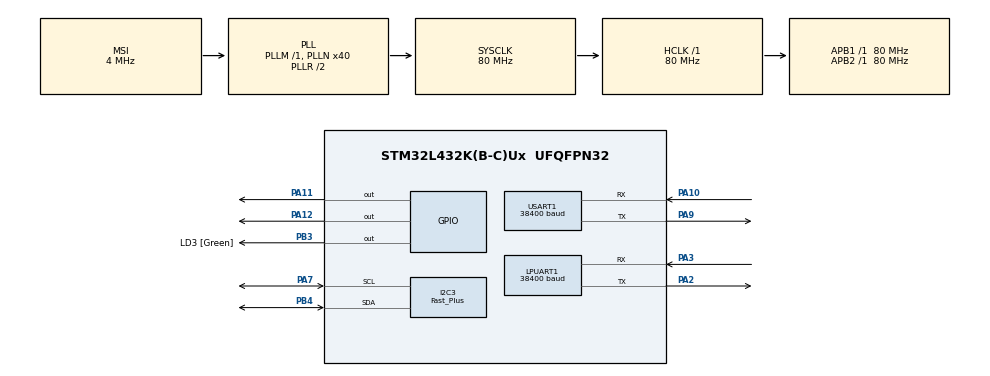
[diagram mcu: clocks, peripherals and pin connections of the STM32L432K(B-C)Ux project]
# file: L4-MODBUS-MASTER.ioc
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I2C3.I2C_Speed_Mode=I2C_Fast_Plus
I2C3.Timing=0x00300F33
LPUART1.BaudRate=38400
LPUART1.WordLength=UART_WORDLENGTH_8B
Mcu.Family=STM32L4
Mcu.Name=STM32L432K(B-C)Ux
Mcu.Package=UFQFPN32
NVIC.LPUART1_IRQn=true\:0\:0\:false\:false\:true\:true\:true\:true
NVIC.PVD_PVM_IRQn=true\:0\:0\:false\:false\:true\:true\:true\:true
NVIC.PriorityGroup=NVIC_PRIORITYGROUP_4
NVIC.USART1_IRQn=true\:1\:0\:true\:false\:true\:true\:true\:true
PA10.Mode=Asynchronous
PA10.Signal=USART1_RX
PA11.Signal=GPIO_Output
PA12.Signal=GPIO_Output
PA13\ (JTMS-SWDIO).GPIO_Label=SWDIO
PA13\ (JTMS-SWDIO).Mode=Serial_Wire
PA13\ (JTMS-SWDIO).Signal=SYS_JTMS-SWDIO
PA14\ (JTCK-SWCLK).GPIO_Label=SWCLK
PA14\ (JTCK-SWCLK).Mode=Serial_Wire
PA14\ (JTCK-SWCLK).Signal=SYS_JTCK-SWCLK
PA2.Mode=Asynchronous
PA2.Signal=LPUART1_TX
PA3.Mode=Asynchronous
PA3.Signal=LPUART1_RX
PA7.Mode=I2C
PA7.Signal=I2C3_SCL
PA9.Mode=Asynchronous
PA9.Signal=USART1_TX
PB3\ (JTDO-TRACESWO).GPIO_Label=LD3 [Green]
PB3\ (JTDO-TRACESWO).Signal=GPIO_Output
PB4\ (NJTRST).Mode=I2C
PB4\ (NJTRST).Signal=I2C3_SDA
PC14-OSC32_IN\ (PC14).Mode=LSE-External-Oscillator
PC14-OSC32_IN\ (PC14).Signal=RCC_OSC32_IN
PC15-OSC32_OUT\ (PC15).Mode=LSE-External-Oscillator
PC15-OSC32_OUT\ (PC15).Signal=RCC_OSC32_OUT
ProjectManager.HeapSize=0x200
ProjectManager.StackSize=0x400
ProjectManager.TargetToolchain=STM32CubeIDE
RCC.ADCFreq_Value=16000000
RCC.AHBFreq_Value=80000000
RCC.APB1Freq_Value=80000000
RCC.APB1TimFreq_Value=80000000
RCC.APB2Freq_Value=80000000
RCC.APB2TimFreq_Value=80000000
RCC.CortexFreq_Value=80000000
RCC.HCLKFreq_Value=80000000
RCC.HSE_VALUE=8000000
RCC.HSI16_VALUE=16000000
RCC.HSI48_VALUE=48000000
RCC.HSI_VALUE=16000000
RCC.MSI_VALUE=4000000
RCC.PLLMUL=RCC_PLLMUL_4
RCC.PLLN=40
RCC.SYSCLKFreq_VALUE=80000000
RCC.SYSCLKSource=RCC_SYSCLKSOURCE_PLLCLK
RCC.USBFreq_Value=16000000
RCC.VCOOutputFreq_Value=160000000
USART1.BaudRate=38400
USART1.VirtualMode-Asynchronous=VM_ASYNC
board=NUCLEO-L432KC

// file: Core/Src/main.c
/* USER CODE BEGIN Header */
/**
  ******************************************************************************
  * @file           : main.c
  * @brief          : Main program body
  ******************************************************************************
  * @attention
  *
  * Copyright (c) 2022 STMicroelectronics.
  * All rights reserved.
  *
  * This software is licensed under terms that can be found in the LICENSE file
  * in the root directory of this software component.
  * If no LICENSE file comes with this software, it is provided AS-IS.
  *
  ******************************************************************************
  */
/* USER CODE END Header */
#include "main.h"

/* USER CODE BEGIN Includes */
#include <stdlib.h>
#include <stdbool.h>
#include <stdio.h>
#include <string.h>
#include <math.h>
#include "display.h"
#include "u8g2/u8g2.h"

#include "bsp_modbus_master.h"
#include "bsp.h"
/* USER CODE END Includes */

 I2C_HandleTypeDef hi2c3;

UART_HandleTypeDef hlpuart1;
UART_HandleTypeDef huart1;

/* USER CODE BEGIN PV */
static bsp_modbus_master_t modbus_master = BSP_MODBUS_1;

//uint8_t Uart1_RxBuffer = 0;  // modbus test vars
//uint8_t Uart1_TxBuffer = 0;
uint16_t data[32];
char buffer[128];
int len;
float temp = 53.8;
float V1N = 0, V2N = 0, V3N = 0, VAvg = 0;
uint16_t vars [3];
uint16_t Error = 0;

uint8_t update=0;

uint8_t recvd_data;
uint8_t flag = 0;

char *tot = "1234567.89";
char *tph = "1234";
char *fpm = "567";

volatile uint32_t pulse_capture[2] = {0};

struct {
		   uint32_t milli_sec;
		   uint32_t screen_update;
		   uint16_t keypad_scan;
		   uint32_t keypress;
		   uint32_t zero_cal;

		} Timer;

uint8_t test_mess=0;
uint8_t count=1;

							uint8_t pulse_flag =0;
/* USER CODE END PV */

void SystemClock_Config(void);
static void MX_GPIO_Init(void);
static void MX_I2C3_Init(void);
static void MX_USART1_UART_Init(void);
static void MX_LPUART1_UART_Init(void);
/* USER CODE BEGIN PFP */
void test2(void);
void test3(void);
void send_multiple_register(void);
void send_single_register(uint16_t reg,uint16_t data);

/* USER CODE END PFP */

int main(void)
{

  /* MCU Configuration--------------------------------------------------------*/

  /* Reset of all peripherals, Initializes the Flash interface and the Systick. */
  HAL_Init();

  /* Configure the system clock */
  SystemClock_Config();

  /* Initialize all configured peripherals */
  MX_GPIO_Init();
  MX_I2C3_Init();
  MX_USART1_UART_Init();
  MX_LPUART1_UART_Init();
  /* USER CODE BEGIN 2 */

  // HAL_UART_Receive_IT(&huart1, &Uart1_RxBuffer, 1);

  bsp_modbus_master_init();

  HAL_GPIO_TogglePin(LD3_GPIO_Port,LD3_Pin);

  extern uint8_t u8x8_stm32_gpio_and_delay(u8x8_t *u8x8, uint8_t msg, uint8_t arg_int, void *arg_ptr);
  //extern uint8_t u8x8_byte_stm32_hw_spi(u8x8_t *u8x8, uint8_t msg, uint8_t arg_int, void *arg_ptr);
  extern uint8_t u8x8_byte_stm32_hw_i2c(u8x8_t *u8x8, uint8_t msg, uint8_t arg_int, void *arg_ptr);

 static u8g2_t u8g2;

/*
  u8g2_Setup_ssd1306_i2c_128x64_noname_f(&u8g2, U8G2_R0, u8x8_byte_stm32_hw_i2c, u8x8_stm32_gpio_and_delay);

  u8g2_InitDisplay(&u8g2);
  	u8g2_SetPowerSave(&u8g2, 0);
  	HAL_Delay(1);
*/

  /* USER CODE END 2 */

  /* Infinite loop */
  while (1)
  {

    /* USER CODE BEGIN 3 */

	   //  send_single_register(0x0001,1);
	    // send_single_register(0x0002,2);
	     //send_single_register(0x0003,3);

	    // HAL_Delay(2000);
	     // send_multiple_register();
	  send_single_register(0x0000,1);
	      HAL_Delay(250);

	      	//     send_single_register(0x0002,0);
	      	  //   send_single_register(0x0003,0);
	     //test3();
	    modbus_test();

//(modbus_master_t *modbus, uint8_t slave_id, uint16_t write_addr, uint16_t value)
//bsp_modbus_master_read_input_register(0x01, 0x0000, 0x0008) == 0x00)
  } //while

  /* USER CODE END 3 */
}

void SystemClock_Config(void)
{
  RCC_OscInitTypeDef RCC_OscInitStruct = {0};
  RCC_ClkInitTypeDef RCC_ClkInitStruct = {0};

  /** Configure the main internal regulator output voltage
  */
  if (HAL_PWREx_ControlVoltageScaling(PWR_REGULATOR_VOLTAGE_SCALE1) != HAL_OK)
  {
    Error_Handler();
  }

  /** Configure LSE Drive Capability
  */
  HAL_PWR_EnableBkUpAccess();
  __HAL_RCC_LSEDRIVE_CONFIG(RCC_LSEDRIVE_LOW);

  /** Initializes the RCC Oscillators according to the specified parameters
  * in the RCC_OscInitTypeDef structure.
  */
  RCC_OscInitStruct.OscillatorType = RCC_OSCILLATORTYPE_LSE|RCC_OSCILLATORTYPE_MSI;
  RCC_OscInitStruct.LSEState = RCC_LSE_ON;
  RCC_OscInitStruct.MSIState = RCC_MSI_ON;
  RCC_OscInitStruct.MSICalibrationValue = 0;
  RCC_OscInitStruct.MSIClockRange = RCC_MSIRANGE_6;
  RCC_OscInitStruct.PLL.PLLState = RCC_PLL_ON;
  RCC_OscInitStruct.PLL.PLLSource = RCC_PLLSOURCE_MSI;
  RCC_OscInitStruct.PLL.PLLM = 1;
  RCC_OscInitStruct.PLL.PLLN = 40;
  RCC_OscInitStruct.PLL.PLLP = RCC_PLLP_DIV7;
  RCC_OscInitStruct.PLL.PLLQ = RCC_PLLQ_DIV2;
  RCC_OscInitStruct.PLL.PLLR = RCC_PLLR_DIV2;
  if (HAL_RCC_OscConfig(&RCC_OscInitStruct) != HAL_OK)
  {
    Error_Handler();
  }

  /** Initializes the CPU, AHB and APB buses clocks
  */
  RCC_ClkInitStruct.ClockType = RCC_CLOCKTYPE_HCLK|RCC_CLOCKTYPE_SYSCLK
                              |RCC_CLOCKTYPE_PCLK1|RCC_CLOCKTYPE_PCLK2;
  RCC_ClkInitStruct.SYSCLKSource = RCC_SYSCLKSOURCE_PLLCLK;
  RCC_ClkInitStruct.AHBCLKDivider = RCC_SYSCLK_DIV1;
  RCC_ClkInitStruct.APB1CLKDivider = RCC_HCLK_DIV1;
  RCC_ClkInitStruct.APB2CLKDivider = RCC_HCLK_DIV1;

  if (HAL_RCC_ClockConfig(&RCC_ClkInitStruct, FLASH_LATENCY_4) != HAL_OK)
  {
    Error_Handler();
  }

  /** Enable MSI Auto calibration
  */
  HAL_RCCEx_EnableMSIPLLMode();
}

static void MX_I2C3_Init(void)
{

  hi2c3.Instance = I2C3;
  hi2c3.Init.Timing = 0x00300F33;
  hi2c3.Init.OwnAddress1 = 0;
  hi2c3.Init.AddressingMode = I2C_ADDRESSINGMODE_7BIT;
  hi2c3.Init.DualAddressMode = I2C_DUALADDRESS_DISABLE;
  hi2c3.Init.OwnAddress2 = 0;
  hi2c3.Init.OwnAddress2Masks = I2C_OA2_NOMASK;
  hi2c3.Init.GeneralCallMode = I2C_GENERALCALL_DISABLE;
  hi2c3.Init.NoStretchMode = I2C_NOSTRETCH_DISABLE;
  if (HAL_I2C_Init(&hi2c3) != HAL_OK)
  {
    Error_Handler();
  }

  /** Configure Analogue filter
  */
  if (HAL_I2CEx_ConfigAnalogFilter(&hi2c3, I2C_ANALOGFILTER_ENABLE) != HAL_OK)
  {
    Error_Handler();
  }

  /** Configure Digital filter
  */
  if (HAL_I2CEx_ConfigDigitalFilter(&hi2c3, 0) != HAL_OK)
  {
    Error_Handler();
  }

  /** I2C Fast mode Plus enable
  */
  HAL_I2CEx_EnableFastModePlus(I2C_FASTMODEPLUS_I2C3);

}

static void MX_LPUART1_UART_Init(void)
{

  hlpuart1.Instance = LPUART1;
  hlpuart1.Init.BaudRate = 38400;
  hlpuart1.Init.WordLength = UART_WORDLENGTH_8B;
  hlpuart1.Init.StopBits = UART_STOPBITS_1;
  hlpuart1.Init.Parity = UART_PARITY_NONE;
  hlpuart1.Init.Mode = UART_MODE_TX_RX;
  hlpuart1.Init.HwFlowCtl = UART_HWCONTROL_NONE;
  hlpuart1.Init.OneBitSampling = UART_ONE_BIT_SAMPLE_DISABLE;
  hlpuart1.AdvancedInit.AdvFeatureInit = UART_ADVFEATURE_NO_INIT;
  if (HAL_UART_Init(&hlpuart1) != HAL_OK)
  {
    Error_Handler();
  }

}

static void MX_USART1_UART_Init(void)
{

  huart1.Instance = USART1;
  huart1.Init.BaudRate = 38400;
  huart1.Init.WordLength = UART_WORDLENGTH_8B;
  huart1.Init.StopBits = UART_STOPBITS_1;
  huart1.Init.Parity = UART_PARITY_NONE;
  huart1.Init.Mode = UART_MODE_TX_RX;
  huart1.Init.HwFlowCtl = UART_HWCONTROL_NONE;
  huart1.Init.OverSampling = UART_OVERSAMPLING_16;
  huart1.Init.OneBitSampling = UART_ONE_BIT_SAMPLE_DISABLE;
  huart1.AdvancedInit.AdvFeatureInit = UART_ADVFEATURE_NO_INIT;
  if (HAL_UART_Init(&huart1) != HAL_OK)
  {
    Error_Handler();
  }

}

static void MX_GPIO_Init(void)
{
  GPIO_InitTypeDef GPIO_InitStruct = {0};

  /* GPIO Ports Clock Enable */
  __HAL_RCC_GPIOC_CLK_ENABLE();
  __HAL_RCC_GPIOA_CLK_ENABLE();
  __HAL_RCC_GPIOB_CLK_ENABLE();

  /*Configure GPIO pin Output Level */
  HAL_GPIO_WritePin(GPIOA, GPIO_PIN_11|GPIO_PIN_12, GPIO_PIN_RESET);

  /*Configure GPIO pin Output Level */
  HAL_GPIO_WritePin(LD3_GPIO_Port, LD3_Pin, GPIO_PIN_RESET);

  /*Configure GPIO pins : PA11 PA12 */
  GPIO_InitStruct.Pin = GPIO_PIN_11|GPIO_PIN_12;
  GPIO_InitStruct.Mode = GPIO_MODE_OUTPUT_PP;
  GPIO_InitStruct.Pull = GPIO_NOPULL;
  GPIO_InitStruct.Speed = GPIO_SPEED_FREQ_LOW;
  HAL_GPIO_Init(GPIOA, &GPIO_InitStruct);

  /*Configure GPIO pin : LD3_Pin */
  GPIO_InitStruct.Pin = LD3_Pin;
  GPIO_InitStruct.Mode = GPIO_MODE_OUTPUT_PP;
  GPIO_InitStruct.Pull = GPIO_NOPULL;
  GPIO_InitStruct.Speed = GPIO_SPEED_FREQ_LOW;
  HAL_GPIO_Init(LD3_GPIO_Port, &GPIO_InitStruct);

}

/* USER CODE BEGIN 4 */

void send_single_register(uint16_t reg,uint16_t data)
{
	//bsp_rs485_enable_receive(false);
	//bsp_rs485_enable_transmit(true);

	// slave_id: 0x01
    	// write_addr: 0x0000
    	// value: 14
	if (bsp_modbus_master_write_single_register(modbus_master ,0x01, reg, data) == 0x00)
  	{
 		// Write success

  	}
  	else
  	{
    		// Write error
  	}
}

void send_multiple_register(void)
{
	//bsp_rs485_enable_receive(false);
	//bsp_rs485_enable_transmit(true);

	// Prepare transmit data
	bsp_modbus_master_set_transmit_buffer(modbus_master, 0, 222);
	bsp_modbus_master_set_transmit_buffer(modbus_master, 1, 111);
	bsp_modbus_master_set_transmit_buffer(modbus_master, 2, 300);

    	// slave_id: 0x01
    	// write_addr: 0x0000
    	// size: 3
	if (bsp_modbus_master_write_mutiple_register(modbus_master, 0x01, 0x0000, 3) == 0x00)
  	{
 		// Write success
  	}
  	else
  	{
    		// Write error
  	}
}
void test2(void)
{
//	char display_out[20];
  uint32_t temp = 0;

 // bsp_rs485_enable_receive(false);
 // bsp_rs485_enable_transmit(true);
  if (bsp_modbus_master_read_input_register(modbus_master, 0x01, 0x0000, 0x0008) == 0x00)
  {
    data[0] = bsp_modbus_master_get_response_buffer(modbus_master, 0);
    data[1] = bsp_modbus_master_get_response_buffer(modbus_master, 1);
    data[2] = bsp_modbus_master_get_response_buffer(modbus_master, 2);
    data[3] = bsp_modbus_master_get_response_buffer(modbus_master, 3);
    data[4] = bsp_modbus_master_get_response_buffer(modbus_master, 4);
    data[5] = bsp_modbus_master_get_response_buffer(modbus_master, 5);
    data[6] = bsp_modbus_master_get_response_buffer(modbus_master, 6);
    data[7] = bsp_modbus_master_get_response_buffer(modbus_master, 7);
  }
  else
  {
    Error++;
  }
  /*
  temp = data[3] | 0x00000000;
    temp = data[2] | (temp << 16);
    V2N = *(float *)&temp;

  temp = data[1] | 0x00000000;
  temp = data[0] | (temp << 16);
  V1N = *(float *)&temp;

  temp = data[5] | 0x00000000;
  temp = data[4] | (temp << 16);
  V3N = *(float *)&temp;

  temp = data[7] | 0x00000000;
  temp = data[6] | (temp << 16);
  VAvg = *(float *)&temp;

  sprintf(buffer, "V1N: %3.2f VAC - V2N: %3.2f VAC - V3N: %3.2f VAC - VAvg: %3.2f VAC - ResDelay: 200ms - Error: %d\r\n", V1N, V2N, V3N, VAvg, Error);
  len = strlen(buffer);
  HAL_UART_Transmit(&huart2, (uint8_t *)buffer, len, 100);
  */

  HAL_Delay(1000);
}

void test3(void)
{
  uint32_t temp = 0;
  data[0] = 0;
 	     data[1] = 0;
 	     data[2] = 0;
 	     data[3] = 0;
 	     data[4] = 0;
 	     data[5] = 0;
 	     data[6] = 0;
 	     data[7] = 0;
  //bsp_rs485_enable_receive(false);
  //bsp_rs485_enable_transmit(true);
  if (bsp_modbus_master_read_holding_register(modbus_master, 0x01, 0x0000, 0x0003) == 0x00)
  {
    data[0] = bsp_modbus_master_get_response_buffer(modbus_master, 0);
    data[1] = bsp_modbus_master_get_response_buffer(modbus_master, 1);
    data[2] = bsp_modbus_master_get_response_buffer(modbus_master, 2);
    //data[3] = bsp_modbus_master_get_response_buffer(3);
   // data[4] = bsp_modbus_master_get_response_buffer(4);
    //data[5] = bsp_modbus_master_get_response_buffer(5);
    //data[6] = bsp_modbus_master_get_response_buffer(6);
    //data[7] = bsp_modbus_master_get_response_buffer(7);
  }
  else
  {
    Error++;
  }
  vars[0]=data[0];
  vars[1]= data[1];
  vars[2]=data[2];

/*
  temp = data[1] | 0x00000000;
  temp = data[0] | (temp << 16);
  V1N = *(float *)&temp;

  temp = data[3] | 0x00000000;
  temp = data[2] | (temp << 16);
  V2N = *(float *)&temp;

  temp = data[5] | 0x00000000;
  temp = data[4] | (temp << 16);
  V3N = *(float *)&temp;

  temp = data[7] | 0x00000000;
  temp = data[6] | (temp << 16);
  VAvg = *(float *)&temp;
*/

  //len = strlen(buffer);
  //HAL_UART_Transmit(&huart2, (uint8_t *)buffer, len, 100);

  //HAL_Delay(200);
}

void HAL_UART_RxCpltCallback(UART_HandleTypeDef *huart) {
//	if (huart->Instance == huart1.Instance) {
//		HAL_GPIO_TogglePin(LD3_GPIO_Port, LD3_Pin);
//		HAL_UART_Receive_IT(&huart1, &Uart1_RxBuffer, 1);
//		if (Queue_IsFull(&modbus_master_rx_queue) == 0)
//			Queue_EnQueue(&modbus_master_rx_queue, Uart1_RxBuffer);
//	}

	bsp_modbus_master_rx_irq(huart);
}

void HAL_UART_TxCpltCallback(UART_HandleTypeDef *huart)
{
//  if (huart->Instance == huart1.Instance)
//  {
//    if (Queue_IsEmpty(&modbus_master_tx_queue) == 1)
//    {
//      modbus_complete_transmit_req = true;
//      //bsp_rs485_enable_receive(true);
//    }
//    else
//    {
//      Uart1_TxBuffer = Queue_DeQueue(&modbus_master_tx_queue);
//      HAL_UART_Transmit_IT(&huart1, &Uart1_TxBuffer, 1);
//    }
//  }

	bsp_modbus_master_tx_irq(huart);
}

void SysTick_CallBack(void)
{

}
/* USER CODE END 4 */

void Error_Handler(void)
{
  __disable_irq();
  while (1)
  {
  }
}
